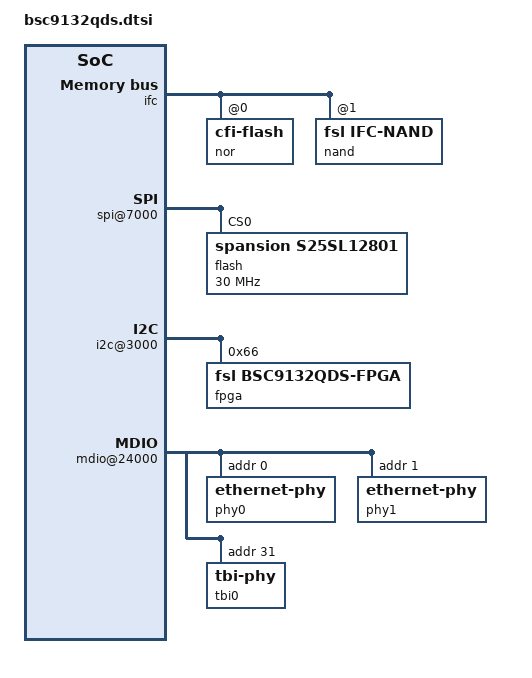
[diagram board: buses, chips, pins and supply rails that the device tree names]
/*
 * BSC9132 QDS Device Tree Source stub (no addresses or top-level ranges)
 *
 * Copyright 2014 Freescale Semiconductor Inc.
 *
 * Redistribution and use in source and binary forms, with or without
 * modification, are permitted provided that the following conditions are met:
 *     * Redistributions of source code must retain the above copyright
 *       notice, this list of conditions and the following disclaimer.
 *     * Redistributions in binary form must reproduce the above copyright
 *       notice, this list of conditions and the following disclaimer in the
 *       documentation and/or other materials provided with the distribution.
 *     * Neither the name of Freescale Semiconductor nor the
 *       names of its contributors may be used to endorse or promote products
 *       derived from this software without specific prior written permission.
 *
 *
 * ALTERNATIVELY, this software may be distributed under the terms of the
 * GNU General Public License ("GPL") as published by the Free Software
 * Foundation, either version 2 of that License or (at your option) any
 * later version.
 *
 * THIS SOFTWARE IS PROVIDED BY Freescale Semiconductor ``AS IS'' AND ANY
 * EXPRESS OR IMPLIED WARRANTIES, INCLUDING, BUT NOT LIMITED TO, THE IMPLIED
 * WARRANTIES OF MERCHANTABILITY AND FITNESS FOR A PARTICULAR PURPOSE ARE
 * DISCLAIMED. IN NO EVENT SHALL Freescale Semiconductor BE LIABLE FOR ANY
 * DIRECT, INDIRECT, INCIDENTAL, SPECIAL, EXEMPLARY, OR CONSEQUENTIAL DAMAGES
 * (INCLUDING, BUT NOT LIMITED TO, PROCUREMENT OF SUBSTITUTE GOODS OR SERVICES;
 * LOSS OF USE, DATA, OR PROFITS; OR BUSINESS INTERRUPTION) HOWEVER CAUSED AND
 * ON ANY THEORY OF LIABILITY, WHETHER IN CONTRACT, STRICT LIABILITY, OR TORT
 * (INCLUDING NEGLIGENCE OR OTHERWISE) ARISING IN ANY WAY OUT OF THE USE OF THIS
 * SOFTWARE, EVEN IF ADVISED OF THE POSSIBILITY OF SUCH DAMAGE.
 */

&ifc {
	nor@0,0 {
		#address-cells = <1>;
		#size-cells = <1>;
		compatible = "cfi-flash";
		reg = <0x0 0x0 0x8000000>;
		bank-width = <2>;
		device-width = <1>;
	};

	nand@1,0 {
		#address-cells = <1>;
		#size-cells = <1>;
		compatible = "fsl,ifc-nand";
		reg = <0x1 0x0 0x4000>;
	};
};

&soc {
	spi@7000 {
		flash@0 {
			#address-cells = <1>;
			#size-cells = <1>;
			compatible = "spansion,s25sl12801", "jedec,spi-nor";
			reg = <0>;
			spi-max-frequency = <30000000>;
		};
	};

	i2c@3000 {
		fpga: fpga@66 {
			compatible = "fsl,bsc9132qds-fpga", "fsl,fpga-qixis-i2c";
			reg = <0x66>;
		};
	};

	usb@22000 {
		phy_type = "ulpi";
	};

	mdio@24000 {
		phy0: ethernet-phy@0 {
			reg = <0x0>;
		};

		phy1: ethernet-phy@1 {
			reg = <0x1>;
		};

		tbi0: tbi-phy@11 {
			reg = <0x1f>;
			device_type = "tbi-phy";
		};
	};

	ptp_clock@b0e00 {
		compatible = "fsl,etsec-ptp";
		reg = <0xb0e00 0xb0>;
		interrupts = <68 2 0 0 69 2 0 0>;
		fsl,tclk-period	= <5>;
		fsl,tmr-prsc	= <2>;
		fsl,tmr-add	= <0xcccccccd>;
		fsl,tmr-fiper1	= <999999995>;
		fsl,tmr-fiper2	= <99990>;
		fsl,max-adj	= <249999999>;
	};

	enet0: ethernet@b0000 {
		phy-handle = <&phy0>;
		tbi-handle = <&tbi0>;
		phy-connection-type = "sgmii";
	};

	enet1: ethernet@b1000 {
		phy-handle = <&phy1>;
		tbi-handle = <&tbi0>;
		phy-connection-type = "sgmii";
	};
};
